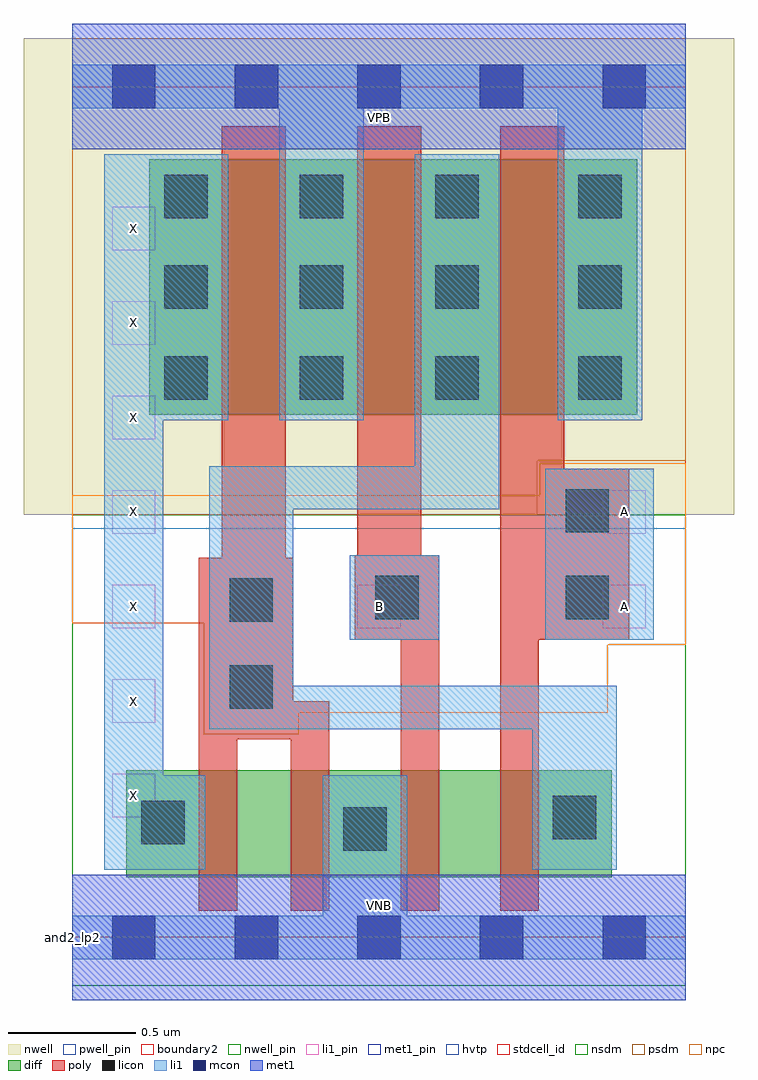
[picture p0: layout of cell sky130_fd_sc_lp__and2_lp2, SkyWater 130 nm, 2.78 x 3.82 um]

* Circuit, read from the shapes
.subckt sky130_fd_sc_lp__and2_lp2 A B VGND VNB VPB VPWR X
XM1 n1 n2 X VNB sky130_fd_pr__nfet_01v8 w=0.42 l=0.15
XM2 VGND n2 n1 VNB sky130_fd_pr__nfet_01v8 w=0.42 l=0.15
XM3 n3 B VGND VNB sky130_fd_pr__nfet_01v8 w=0.42 l=0.15
XM4 n2 A n3 VNB sky130_fd_pr__nfet_01v8 w=0.42 l=0.15
XM5 VPWR n2 X VPB sky130_fd_pr__pfet_01v8_hvt w=1 l=0.25
XM6 n2 B VPWR VPB sky130_fd_pr__pfet_01v8_hvt w=1 l=0.25
XM7 VPWR A n2 VPB sky130_fd_pr__pfet_01v8_hvt w=1 l=0.25
.ends

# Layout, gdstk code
import gdstk
lib = gdstk.Library(unit=1e-6, precision=1e-09)
def R(c, l, rs):  # rectangles x0, y0, x1, y1
    for r in rs: c.add(gdstk.rectangle(r[:2], r[2:], *l))
def A(c, l, x, y, w, h, nx, ny, dx, dy):  # array of equal rectangles
    R(c, l, [(x+i*dx, y+j*dy, x+i*dx+w, y+j*dy+h) for i in range(nx) for j in range(ny)])
def P(c, l, *ps):  # polygons
    for p in ps: c.add(gdstk.Polygon(p, *l))
nwell_pin = (64, 16)
nwell = (64, 20)
diff = (65, 20)
poly = (66, 20)
licon = (66, 44)
li1_pin = (67, 16)
li1 = (67, 20)
mcon = (67, 44)
met1_pin = (68, 16)
met1 = (68, 20)
hvtp = (78, 44)
stdcell_id = (81, 4)
nsdm = (93, 44)
psdm = (94, 20)
npc = (95, 20)
pwell_pin = (122, 16)
boundary2 = (236, 0)

sky130_fd_sc_lp__and2_lp = lib.new_cell('sky130_fd_sc_lp__and2_lp2')
R(sky130_fd_sc_lp__and2_lp, nwell_pin, [(0,3.085,2.4,3.33)])
R(sky130_fd_sc_lp__and2_lp, nwell, [(-0.19,1.655,2.59,3.52)])
R(sky130_fd_sc_lp__and2_lp, diff, [(0.21,0.235,2.11,0.655), (0.3,2.045,2.21,3.045)])
P(sky130_fd_sc_lp__and2_lp, poly, [(1.005,0.925),(0.865,0.925),(0.865,1.485),(0.835,1.485),(0.835,3.175),(0.585,3.175),(0.585,1.485),(0.495,1.485),(0.495,0.105),(0.645,0.105),(0.645,0.775),(0.855,0.775),(0.855,0.105),(1.005,0.105)],
  [(1.435,1.495),(1.365,1.495),(1.365,3.175),(1.115,3.175),(1.115,1.495),(1.105,1.495),(1.105,1.165),(1.285,1.165),(1.285,0.105),(1.435,0.105)],
  [(2.18,1.835),(1.925,1.835),(1.925,3.175),(1.675,3.175),(1.675,0.105),(1.825,0.105),(1.825,1.165),(2.18,1.165)])
A(sky130_fd_sc_lp__and2_lp, licon, 0.36, 2.105, 0.17, 0.17, 3, 3, 0.53, 0.355)
A(sky130_fd_sc_lp__and2_lp, licon, 1.98, 2.105, 0.17, 0.17, 1, 3, 0, 0.355)
R(sky130_fd_sc_lp__and2_lp, licon, [(1.06,0.34,1.23,0.51), (0.27,0.365,0.44,0.535), (1.88,0.385,2.05,0.555), (0.615,0.895,0.785,1.065), (0.615,1.235,0.785,1.405), (1.185,1.245,1.355,1.415), (1.93,1.245,2.1,1.415), (1.93,1.585,2.1,1.755)])
A(sky130_fd_sc_lp__and2_lp, li1_pin, 0.155, 1.21, 0.17, 0.17, 3, 1, 0.96, 0)
A(sky130_fd_sc_lp__and2_lp, li1_pin, 0.155, 1.58, 0.17, 0.17, 1, 4, 0, 0.37)
R(sky130_fd_sc_lp__and2_lp, li1_pin, [(0.155,0.47,0.325,0.64), (0.155,0.84,0.325,1.01), (2.075,1.58,2.245,1.75)])
R(sky130_fd_sc_lp__and2_lp, li1, [(1.085,1.165,1.435,1.495), (1.85,1.165,2.275,1.835)])
P(sky130_fd_sc_lp__and2_lp, li1, [(1.9,2.025),(1.9,3.245),(1.14,3.245),(1.14,2.025),(0.81,2.025),(0.81,3.245),(0,3.245),(0,3.415),(2.4,3.415),(2.4,3.245),(2.23,3.245),(2.23,2.025)],
  [(0.98,0.085),(0.98,0.635),(1.31,0.635),(1.31,0.085),(2.4,0.085),(2.4,-0.085),(0,-0.085),(0,0.085)],
  [(0.865,0.985),(2.13,0.985),(2.13,0.265),(1.8,0.265),(1.8,0.815),(0.535,0.815),(0.535,1.845),(1.34,1.845),(1.34,3.065),(1.67,3.065),(1.67,1.675),(0.865,1.675)],
  [(0.125,3.065),(0.61,3.065),(0.61,2.025),(0.355,2.025),(0.355,0.635),(0.52,0.635),(0.52,0.265),(0.125,0.265)])
A(sky130_fd_sc_lp__and2_lp, mcon, 0.155, -0.085, 0.17, 0.17, 5, 2, 0.48, 3.33)
R(sky130_fd_sc_lp__and2_lp, met1_pin, [(0,0,2.4,0.245), (0,3.085,2.4,3.33)])
R(sky130_fd_sc_lp__and2_lp, met1, [(0,-0.245,2.4,0.245), (0,3.085,2.4,3.575)])
R(sky130_fd_sc_lp__and2_lp, hvtp, [(0,1.6,2.4,3.33)])
R(sky130_fd_sc_lp__and2_lp, stdcell_id, [(0,0,2.4,3.33)])
R(sky130_fd_sc_lp__and2_lp, nsdm, [(0,-0.19,2.4,1.655)])
P(sky130_fd_sc_lp__and2_lp, psdm, [(2.4,3.52),(0,3.52),(0,1.655),(1.82,1.655),(1.82,1.865),(2.4,1.865)])
P(sky130_fd_sc_lp__and2_lp, npc, [(2.4,1.855),(1.83,1.855),(1.83,1.73),(0,1.73),(0,1.23),(0.515,1.23),(0.515,0.795),(0.885,0.795),(0.885,0.88),(2.095,0.88),(2.095,1.145),(2.4,1.145)])
R(sky130_fd_sc_lp__and2_lp, pwell_pin, [(0,0,2.4,0.245)])
R(sky130_fd_sc_lp__and2_lp, boundary2, [(0,0,2.4,3.33)])
sky130_fd_sc_lp__and2_lp.add(gdstk.Label('VNB', (1.2,0.123), layer=64, texttype=59))
sky130_fd_sc_lp__and2_lp.add(gdstk.Label('VPB', (1.2,3.208), layer=64, texttype=5))
sky130_fd_sc_lp__and2_lp.add(gdstk.Label('and2_lp2', (0,0), layer=83, texttype=44))
sky130_fd_sc_lp__and2_lp.add(gdstk.Label('VPWR', (1.2,3.208), layer=68, texttype=5))
sky130_fd_sc_lp__and2_lp.add(gdstk.Label('VGND', (1.2,0.123), layer=68, texttype=5))
sky130_fd_sc_lp__and2_lp.add(gdstk.Label('B', (1.2,1.295), layer=67, texttype=5))
sky130_fd_sc_lp__and2_lp.add(gdstk.Label('A', (2.16,1.295), layer=67, texttype=5))
sky130_fd_sc_lp__and2_lp.add(gdstk.Label('A', (2.16,1.665), layer=67, texttype=5))
sky130_fd_sc_lp__and2_lp.add(gdstk.Label('X', (0.24,0.555), layer=67, texttype=5))
sky130_fd_sc_lp__and2_lp.add(gdstk.Label('X', (0.24,0.925), layer=67, texttype=5))
sky130_fd_sc_lp__and2_lp.add(gdstk.Label('X', (0.24,1.295), layer=67, texttype=5))
sky130_fd_sc_lp__and2_lp.add(gdstk.Label('X', (0.24,1.665), layer=67, texttype=5))
sky130_fd_sc_lp__and2_lp.add(gdstk.Label('X', (0.24,2.035), layer=67, texttype=5))
sky130_fd_sc_lp__and2_lp.add(gdstk.Label('X', (0.24,2.405), layer=67, texttype=5))
sky130_fd_sc_lp__and2_lp.add(gdstk.Label('X', (0.24,2.775), layer=67, texttype=5))

lib.write_gds('sky130_fd_sc_lp__and2_lp2.gds')
